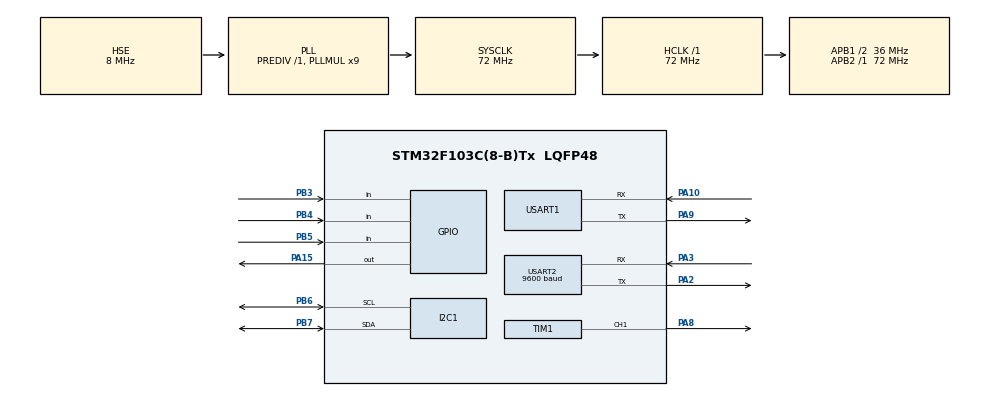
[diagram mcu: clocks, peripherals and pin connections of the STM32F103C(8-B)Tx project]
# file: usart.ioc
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Dma.Request0=USART2_RX
Dma.Request1=USART2_TX
Dma.USART2_RX.0.Direction=DMA_PERIPH_TO_MEMORY
Dma.USART2_RX.0.Instance=DMA1_Channel6
Dma.USART2_RX.0.MemDataAlignment=DMA_MDATAALIGN_BYTE
Dma.USART2_RX.0.MemInc=DMA_MINC_ENABLE
Dma.USART2_RX.0.Mode=DMA_CIRCULAR
Dma.USART2_RX.0.PeriphDataAlignment=DMA_PDATAALIGN_BYTE
Dma.USART2_RX.0.PeriphInc=DMA_PINC_DISABLE
Dma.USART2_RX.0.Priority=DMA_PRIORITY_LOW
Dma.USART2_TX.1.Direction=DMA_MEMORY_TO_PERIPH
Dma.USART2_TX.1.Instance=DMA1_Channel7
Dma.USART2_TX.1.MemDataAlignment=DMA_MDATAALIGN_BYTE
Dma.USART2_TX.1.MemInc=DMA_MINC_ENABLE
Dma.USART2_TX.1.Mode=DMA_NORMAL
Dma.USART2_TX.1.PeriphDataAlignment=DMA_PDATAALIGN_BYTE
Dma.USART2_TX.1.PeriphInc=DMA_PINC_DISABLE
Dma.USART2_TX.1.Priority=DMA_PRIORITY_LOW
Mcu.Family=STM32F1
Mcu.Name=STM32F103C(8-B)Tx
Mcu.Package=LQFP48
NVIC.DMA1_Channel6_IRQn=true\:1\:0\:true\:false\:true\:false\:true\:true
NVIC.DMA1_Channel7_IRQn=true\:1\:0\:true\:false\:true\:false\:true\:true
NVIC.PriorityGroup=NVIC_PRIORITYGROUP_4
NVIC.USART2_IRQn=true\:1\:0\:true\:false\:true\:true\:true\:true
PA10.Mode=Asynchronous
PA10.Signal=USART1_RX
PA13.Mode=Serial_Wire
PA13.Signal=SYS_JTMS-SWDIO
PA14.Mode=Serial_Wire
PA14.Signal=SYS_JTCK-SWCLK
PA15.GPIO_PuPd=GPIO_PULLDOWN
PA15.Signal=GPIO_Output
PA2.Mode=Asynchronous
PA2.Signal=USART2_TX
PA3.Mode=Asynchronous
PA3.Signal=USART2_RX
PA8.Signal=S_TIM1_CH1
PA9.Mode=Asynchronous
PA9.Signal=USART1_TX
PB3.GPIO_PuPd=GPIO_PULLUP
PB3.Signal=GPIO_Input
PB4.GPIO_PuPd=GPIO_PULLUP
PB4.Signal=GPIO_Input
PB5.GPIO_PuPd=GPIO_PULLUP
PB5.Signal=GPIO_Input
PB6.Mode=I2C
PB6.Signal=I2C1_SCL
PB7.Mode=I2C
PB7.Signal=I2C1_SDA
PD0-OSC_IN.Mode=HSE-External-Oscillator
PD0-OSC_IN.Signal=RCC_OSC_IN
PD1-OSC_OUT.Mode=HSE-External-Oscillator
PD1-OSC_OUT.Signal=RCC_OSC_OUT
ProjectManager.HeapSize=0x200
ProjectManager.StackSize=0x400
ProjectManager.TargetToolchain=MDK-ARM V5
RCC.ADCPresc=RCC_ADCPCLK2_DIV6
RCC.AHBFreq_Value=72000000
RCC.APB1CLKDivider=RCC_HCLK_DIV2
RCC.APB1Freq_Value=36000000
RCC.APB1TimFreq_Value=72000000
RCC.APB2Freq_Value=72000000
RCC.APB2TimFreq_Value=72000000
RCC.HCLKFreq_Value=72000000
RCC.PLLMUL=RCC_PLL_MUL9
RCC.PLLSourceVirtual=RCC_PLLSOURCE_HSE
RCC.SYSCLKFreq_VALUE=72000000
RCC.SYSCLKSource=RCC_SYSCLKSOURCE_PLLCLK
RCC.USBFreq_Value=72000000
SH.S_TIM1_CH1.0=TIM1_CH1,PWM Generation1 CH1
TIM1.AutoReloadPreload=TIM_AUTORELOAD_PRELOAD_ENABLE
TIM1.Channel-PWM\ Generation1\ CH1=TIM_CHANNEL_1
TIM1.Period=1000
TIM1.Prescaler=71
TIM1.Pulse-PWM\ Generation1\ CH1=500
USART1.VirtualMode=VM_ASYNC
USART2.BaudRate=9600
USART2.VirtualMode=VM_ASYNC
VP_RTC_VS_RTC_Activate.Mode=RTC_Enabled
VP_TIM1_VS_ClockSourceINT.Mode=Internal
board=custom

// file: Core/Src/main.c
/* USER CODE BEGIN Header */
/**
 ******************************************************************************
 * @file           : main.c
 * @brief          : Main program body
 ******************************************************************************
 * @attention
 *
 * <h2><center>&copy; Copyright (c) 2019 STMicroelectronics.
 * All rights reserved.</center></h2>
 *
 * This software component is licensed by ST under BSD 3-Clause license,
 * the "License"; You may not use this file except in compliance with the
 * License. You may obtain a copy of the License at:
 *                        opensource.org/licenses/BSD-3-Clause
 *
 ******************************************************************************
 */
/* USER CODE END Header */
#include "main.h"
#include "dma.h"
#include "i2c.h"
#include "rtc.h"
#include "tim.h"
#include "usart.h"
#include "gpio.h"

/* USER CODE BEGIN Includes */
#include <stdio.h>
#include <oled.h>
#include <string.h>
#include <stdlib.h>
#include <limits.h>
/**
 * 锟斤拷锟斤拷锟斤拷锟斤拷: 锟截讹拷锟斤拷c锟解函锟斤拷printf锟斤拷DEBUG_USARTx
 * 锟斤拷锟斤拷锟斤拷锟?: 锟斤拷
 * 锟斤拷 锟斤拷 值: 锟斤拷
 * 说    锟斤拷锟斤拷锟斤拷
 */
int fputc(int ch, FILE *f)
{
	HAL_UART_Transmit(&huart2, (uint8_t *)&ch, 1, 0xffff);
	return ch;
}
/**
 * 锟斤拷锟斤拷锟斤拷锟斤拷: 锟截讹拷锟斤拷c锟解函锟斤拷getchar,scanf锟斤拷DEBUG_USARTx
 * 锟斤拷锟斤拷锟斤拷锟?: 锟斤拷
 * 锟斤拷 锟斤拷 值: 锟斤拷
 * 说    锟斤拷锟斤拷锟斤拷
 */
int fgetc(FILE *f)
{
	uint8_t ch = 0;
	HAL_UART_Receive(&huart2, &ch, 1, 0xffff);
	return ch;
}

/* USER CODE END Includes */

/* USER CODE BEGIN PTD */
int zzh=500;
float phh=8.0,phl=6.5;
int turn=0;
unsigned int menu = 0, k = 0, l = 0, m = 1, n = 0, pwmnum = 200;
// menu锟斤拷锟斤拷说锟窖★拷锟絢锟斤拷煤锟斤拷使锟杰ｏ拷l锟角伙拷使锟杰ｏ拷m锟斤拷锟斤拷湿锟斤拷锟睫改ｏ拷n锟角凤拷锟斤拷锟斤拷锟斤拷转锟斤拷pwmnum锟斤拷锟劫讹拷选锟斤拷

/* USER CODE END PTD */

/* USER CODE BEGIN PD */
#define u8 unsigned char
#define u16 unsigned short
#define u32 unsigned int

/* USER CODE END PD */

/* USER CODE BEGIN PM */
//区间映射
u32 cal_map(u32 x, u32 in_min, u32 in_max, u32 out_min, u32 out_max)
{
	return (x - in_min) * (out_max - out_min) / (in_max - in_min) + out_min;
}
/* USER CODE END PM */

/* USER CODE BEGIN PV */
 uint32_t ADC_Value[100];
 uint8_t i;
 uint32_t ad1,ad2;

unsigned long num;
int num2;
char *leftover,*leftover2;
float zazi,ph,num3;

#define Offset 0.00            //偏差补偿
float phValue=0;

// 用于保存转换计算后的电压值
float ADC_ConvertedValueLocal;
float compensationCoefficient=1.0;//温度校准系数
float compensationVolatge;
float TDS=0.0,TDS_voltage;
float TDS_value=0.0,voltage_value;
float kValue=1.67;
/* USER CODE END PV */

void SystemClock_Config(void);

/* USER CODE BEGIN 0 */
#define BUFFERSIZE 255//可以接收的最大字符个数
uint8_t ReceiveBuff[BUFFERSIZE]; //接收缓冲区
uint8_t Rx_len;//接收完成中断标志，接收到字符长度
extern DMA_HandleTypeDef hdma_usart2_rx;
void HAL_UART_TxCpltCallback(UART_HandleTypeDef *huart)
{
	if(huart==&huart2)//判断是否是串口2中断
	HAL_GPIO_TogglePin(GPIOB, GPIO_PIN_12);//引脚B12电平反转
}

unsigned long TDS_Value_Conversion(float zz,float ttemp)
{
	ADC_ConvertedValueLocal=zz;
	compensationCoefficient=1.0+0.02*((ttemp/10)-25.0);
	compensationVolatge=ADC_ConvertedValueLocal/compensationCoefficient;
	if((ADC_ConvertedValueLocal>=0)&&(ADC_ConvertedValueLocal<0.1))
	{compensationVolatge=0;}
	TDS_value=(133.42*compensationVolatge*compensationVolatge*compensationVolatge -
	255.86*compensationVolatge*compensationVolatge + 857.39*compensationVolatge)*0.5*kValue;

	  if((TDS_value<=0)){TDS_value=0;}
		if((TDS_value>1400)){TDS_value=1400;}

return TDS_value;
}

void warinig(void)
{
	if(TDS_Value_Conversion(zazi*0.001f,num3)>zzh)
	{
		memset(ReceiveBuff,0,sizeof(ReceiveBuff));
		HAL_GPIO_WritePin (GPIOA ,GPIO_PIN_15 ,GPIO_PIN_SET );
		HAL_Delay(300);
		HAL_GPIO_WritePin (GPIOA ,GPIO_PIN_15 ,GPIO_PIN_RESET );
		HAL_Delay(100);
		HAL_GPIO_WritePin (GPIOA ,GPIO_PIN_15 ,GPIO_PIN_SET );
		HAL_Delay(300);
		HAL_GPIO_WritePin (GPIOA ,GPIO_PIN_15 ,GPIO_PIN_RESET );
		HAL_Delay(100);
	}
	else if(phValue>phh)
	{
		memset(ReceiveBuff,0,sizeof(ReceiveBuff));
		HAL_GPIO_WritePin (GPIOA ,GPIO_PIN_15 ,GPIO_PIN_SET );
		HAL_Delay(100);
		HAL_GPIO_WritePin (GPIOA ,GPIO_PIN_15 ,GPIO_PIN_RESET );
		HAL_Delay(100);
		HAL_GPIO_WritePin (GPIOA ,GPIO_PIN_15 ,GPIO_PIN_SET );
		HAL_Delay(100);
		HAL_GPIO_WritePin (GPIOA ,GPIO_PIN_15 ,GPIO_PIN_RESET );
		HAL_Delay(100);
		HAL_GPIO_WritePin (GPIOA ,GPIO_PIN_15 ,GPIO_PIN_SET );
		HAL_Delay(100);
		HAL_GPIO_WritePin (GPIOA ,GPIO_PIN_15 ,GPIO_PIN_RESET );
		HAL_Delay(100);
		HAL_GPIO_WritePin (GPIOA ,GPIO_PIN_15 ,GPIO_PIN_SET );
		HAL_Delay(100);
		HAL_GPIO_WritePin (GPIOA ,GPIO_PIN_15 ,GPIO_PIN_RESET );
		HAL_Delay(100);
	}
	else if(phValue<phl)
	{
		memset(ReceiveBuff,0,sizeof(ReceiveBuff));
		HAL_GPIO_WritePin (GPIOA ,GPIO_PIN_15 ,GPIO_PIN_SET );
		HAL_Delay(100);
		HAL_GPIO_WritePin (GPIOA ,GPIO_PIN_15 ,GPIO_PIN_RESET );
		HAL_Delay(100);
		HAL_GPIO_WritePin (GPIOA ,GPIO_PIN_15 ,GPIO_PIN_SET );
		HAL_Delay(100);
		HAL_GPIO_WritePin (GPIOA ,GPIO_PIN_15 ,GPIO_PIN_RESET );
		HAL_Delay(100);
		HAL_GPIO_WritePin (GPIOA ,GPIO_PIN_15 ,GPIO_PIN_SET );
		HAL_Delay(100);
		HAL_GPIO_WritePin (GPIOA ,GPIO_PIN_15 ,GPIO_PIN_RESET );
		HAL_Delay(100);
		HAL_GPIO_WritePin (GPIOA ,GPIO_PIN_15 ,GPIO_PIN_SET );
		HAL_Delay(100);
		HAL_GPIO_WritePin (GPIOA ,GPIO_PIN_15 ,GPIO_PIN_RESET );
		HAL_Delay(100);
	}
	else
	{
		memset(ReceiveBuff,0,sizeof(ReceiveBuff));
		HAL_Delay(500);
	}
}
/* USER CODE END 0 */

int main(void)
{

  /* MCU Configuration--------------------------------------------------------*/

  /* Reset of all peripherals, Initializes the Flash interface and the Systick. */
  HAL_Init();

  /* Configure the system clock */
  SystemClock_Config();

  /* Initialize all configured peripherals */
  MX_GPIO_Init();
  MX_DMA_Init();
  MX_RTC_Init();
  MX_USART1_UART_Init();
  MX_TIM1_Init();
  MX_I2C1_Init();
  MX_USART2_UART_Init();
	HAL_Delay(1900);
  /* USER CODE BEGIN 2 */
	OLED_Init();
	OLED_Clear();
	OLED_ShowString(0,0,"HelloWorld",16);
	//HAL_UART_Receive_IT(&huart2, (uint8_t *)&aRxBuffer, 1);
	HAL_TIM_PWM_Start(&htim1, TIM_CHANNEL_1);

	//串口区域改写
	__HAL_UART_ENABLE_IT(&huart2, UART_IT_IDLE);//使能串口1 IDLE中断
	/*第二个参数目前为数组 如果为变量需要加取地址符*/
	HAL_UART_Receive_DMA(&huart2,ReceiveBuff,BUFFERSIZE);//使能接收

  /* USER CODE END 2 */

  /* Infinite loop */
  /* USER CODE BEGIN WHILE */
	while (1)
	{
      num = strtoul(ReceiveBuff, &leftover, 10);
		  if(num>99999999)
			num=99999999;
		  zazi=(num/10000000)*1000+(num/1000000%10)*100+(num/100000%10)*10+(num/10000%10);
			ph=(num/1000%10)*1000+(num/100%10)*100+(num/10%10)*10+(num%10);

			num2=strtoul(leftover, &leftover2, 10);
			num3=((num2*1.0)/100);

    if(HAL_GPIO_ReadPin(GPIOB ,GPIO_PIN_5 )==0)
		{
			while(HAL_GPIO_ReadPin(GPIOB ,GPIO_PIN_5 )==0);
			menu++;
			OLED_Clear();
		}
		if(menu>2)menu=0;
    if(menu ==0)
    {
		  OLED_ShowCHinese(0,0,0);
			OLED_ShowCHinese(0,16,1);
      OLED_ShowCHinese(0,32,2);
      OLED_ShowCHinese(0,48,3);
			OLED_ShowNum(64,0,num,8,16);

		  OLED_ShowCHinese(2,0,4);
			OLED_ShowCHinese(2,16,5);
			OLED_ShowNum(32,2,TDS_Value_Conversion(zazi*0.001f,num3),4,16);
      OLED_ShowString(66,2,"mg/L",16);

			if(ph>3200)ph=3200;
			phValue=3.5*(ph/1000)+Offset;                      //将毫伏转换为pH值
      OLED_ShowString(0,4,"PH:",16);
			OLED_Showfloat(24,4,phValue,16);
      OLED_ShowString(72,4,"mol*L-1",16);

		  OLED_ShowCHinese(6,0,19);
			OLED_ShowCHinese(6,16,20);
			OLED_Showfloat(32,6,num3,16);
      OLED_ShowString(80,6,"C",16);
      warinig();

		}
		else if(menu==1)
		{
			OLED_ShowCHinese(0,0,7);//菜
			OLED_ShowCHinese(0,16,8);//单
			OLED_ShowCHinese(0,32,9);//一
			OLED_ShowCHinese(2,0,4);
			OLED_ShowCHinese(2,16,5);
			OLED_ShowCHinese(2,32,12);
			OLED_ShowCHinese(2,48,13);
			OLED_ShowCHinese(2,64,10);
			OLED_ShowCHinese(2,80,11);

      OLED_ShowNum(0,4,zzh,4,16);
			if(HAL_GPIO_ReadPin(GPIOB ,GPIO_PIN_4 )==0)//4加3减
			{
				zzh++;
			}
			else if(HAL_GPIO_ReadPin(GPIOB ,GPIO_PIN_3 )==0)
			{
				zzh--;
			}
			else if(zzh>1400)
			{
				zzh=1400;
			}
			else if(zzh<0)
			{
				zzh=0;
			}
		}
    else if(menu==2)
		{
			OLED_ShowCHinese(0,0,7);//菜
			OLED_ShowCHinese(0,16,8);//单
			OLED_ShowCHinese(0,32,18);//一
      OLED_ShowString(0,2,"PH",16);
			OLED_ShowCHinese(2,18,12);
			OLED_ShowCHinese(2,34,13);
			OLED_ShowCHinese(2,50,10);
			OLED_ShowCHinese(2,66,11);

			OLED_ShowCHinese(4,0,14);//菜
			OLED_ShowCHinese(4,16,16);//单
			OLED_ShowCHinese(6,0,15);//菜
			OLED_ShowCHinese(6,16,16);//单
      OLED_Showfloat(33,4,phh,16);
      OLED_Showfloat(33,6,phl,16);

			if((HAL_GPIO_ReadPin(GPIOB ,GPIO_PIN_4 )==0)&&(HAL_GPIO_ReadPin(GPIOB ,GPIO_PIN_3 )==0))
			{
				while((HAL_GPIO_ReadPin(GPIOB ,GPIO_PIN_4 )==0)&&(HAL_GPIO_ReadPin(GPIOB ,GPIO_PIN_3 )==0));
				turn++;
			}
			else if(turn>1)
			{
				turn=0;
			}
			if(turn==0)
			{
				if(HAL_GPIO_ReadPin(GPIOB ,GPIO_PIN_4 )==0)//4加3减
				{
					phh+=0.1;
				}
				else if(HAL_GPIO_ReadPin(GPIOB ,GPIO_PIN_3 )==0)
				{
					phh-=0.1;
				}
			OLED_ShowCHinese(4,80,17);//单
			OLED_ShowCHinese(6,80,6);//菜
			}
			if(turn==1)
			{
				if(HAL_GPIO_ReadPin(GPIOB ,GPIO_PIN_4 )==0)//4加3减
				{
					phl+=0.1;
				}
				else if(HAL_GPIO_ReadPin(GPIOB ,GPIO_PIN_3 )==0)
				{
					phl-=0.1;
				}
			OLED_ShowCHinese(4,80,6);//单
			OLED_ShowCHinese(6,80,17);//菜
			}
			if(zzh>1400)
			{
				zzh=1400;
			}
			else if(zzh<0)
			{
				zzh=0;
			}
		}

//		  OLED_ShowCHinese(6,0,43);//清除最后一行方便刷新用的
//			OLED_ShowCHinese(6,16,43);//清除最后一行方便刷新用的
//      OLED_ShowCHinese(6,32,43);//清除最后一行方便刷新用的
//      OLED_ShowCHinese(6,48,43);//清除最后一行方便刷新用的
//      OLED_ShowCHinese(6,64,43);//清除最后一行方便刷新用的
//      OLED_ShowCHinese(6,80,43);//清除最后一行方便刷新用的
//      OLED_ShowCHinese(6,96,43);//清除最后一行方便刷新用的
//      OLED_ShowCHinese(6,112,43);//清除最后一行方便刷新用的
//			OLED_ShowString(0,6,ReceiveBuff,16);

		//printf("%d\r\n",(turnADC2*1000000)+(turnADC1*10000)+(temp*100)+humi);//后续串调节都在这写
		//编码：空气*1000000+分贝*10000+温度*100+湿度。
		//解码：数值/1000000=空气，数值/10000%100=分贝，
		//      数值/100%100==温度，数值%100=湿度。转换380,120,45,22=1204522

    /* USER CODE END WHILE */

	}
}

void SystemClock_Config(void)
{
  RCC_OscInitTypeDef RCC_OscInitStruct = {0};
  RCC_ClkInitTypeDef RCC_ClkInitStruct = {0};
  RCC_PeriphCLKInitTypeDef PeriphClkInit = {0};

  /** Initializes the RCC Oscillators according to the specified parameters
  * in the RCC_OscInitTypeDef structure.
  */
  RCC_OscInitStruct.OscillatorType = RCC_OSCILLATORTYPE_LSI|RCC_OSCILLATORTYPE_HSE;
  RCC_OscInitStruct.HSEState = RCC_HSE_ON;
  RCC_OscInitStruct.HSEPredivValue = RCC_HSE_PREDIV_DIV1;
  RCC_OscInitStruct.HSIState = RCC_HSI_ON;
  RCC_OscInitStruct.LSIState = RCC_LSI_ON;
  RCC_OscInitStruct.PLL.PLLState = RCC_PLL_ON;
  RCC_OscInitStruct.PLL.PLLSource = RCC_PLLSOURCE_HSE;
  RCC_OscInitStruct.PLL.PLLMUL = RCC_PLL_MUL9;
  if (HAL_RCC_OscConfig(&RCC_OscInitStruct) != HAL_OK)
  {
    Error_Handler();
  }

  /** Initializes the CPU, AHB and APB buses clocks
  */
  RCC_ClkInitStruct.ClockType = RCC_CLOCKTYPE_HCLK|RCC_CLOCKTYPE_SYSCLK
                              |RCC_CLOCKTYPE_PCLK1|RCC_CLOCKTYPE_PCLK2;
  RCC_ClkInitStruct.SYSCLKSource = RCC_SYSCLKSOURCE_PLLCLK;
  RCC_ClkInitStruct.AHBCLKDivider = RCC_SYSCLK_DIV1;
  RCC_ClkInitStruct.APB1CLKDivider = RCC_HCLK_DIV2;
  RCC_ClkInitStruct.APB2CLKDivider = RCC_HCLK_DIV1;

  if (HAL_RCC_ClockConfig(&RCC_ClkInitStruct, FLASH_LATENCY_2) != HAL_OK)
  {
    Error_Handler();
  }
  PeriphClkInit.PeriphClockSelection = RCC_PERIPHCLK_RTC;
  PeriphClkInit.RTCClockSelection = RCC_RTCCLKSOURCE_LSI;
  if (HAL_RCCEx_PeriphCLKConfig(&PeriphClkInit) != HAL_OK)
  {
    Error_Handler();
  }
}

void Error_Handler(void)
{
}
